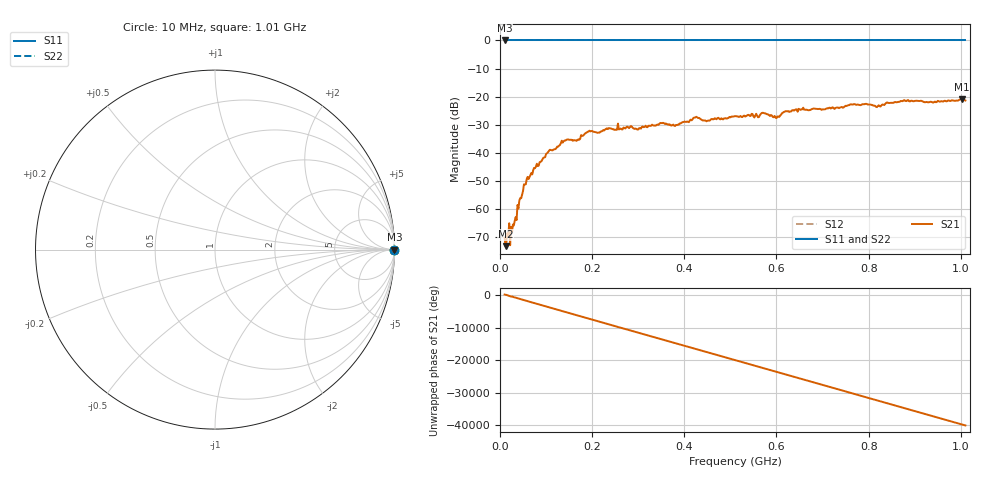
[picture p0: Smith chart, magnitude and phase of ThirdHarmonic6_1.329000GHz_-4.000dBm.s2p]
! 8/16/2025 2:50:07 PM
! C:\ANRITSUVNA\TEMP\TEMP.S2P
! CHANNEL.1
! TR.MEASUREMENT
! RAW.DATA
! RF.CORRECTION.OFF
! AVERAGING.OFF
! IF.BANDWIDTH: 5KHZ
! SWEEPTYPE:  FREQ.SWEEP(Linear)
! Reference Plane Port Info
! PORT:  PORT1  PORT2
! DISTANCE:  0  m  0  m
! TIME:  0  s  0  s
! PHASE.OFFSET:  0  deg.  0  deg.
! LOSS:  0  dB  0  dB
! REF.LOSS:  0  dB  0  dB
! REF.FREQ:  0  Hz  0  Hz
! Power Info
! POWER:  -20  dBm  -20  dBm
! EFF.POWER:  -20  dBm  -20  dBm
! SOURCE.ATTEN:  0  dB  0  dB
! TEST.ATTEN:  0  dB  0  dB
# GHZ S RI R 50.0
! FREQ.GHZ  S11RE  S11IM  S21RE  S21IM  S12RE  S12IM  S22RE  S22IM
!; PortSelection: Port_12
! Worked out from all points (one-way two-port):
!   501 points, 10 MHz to 1.01 GHz, reference 50 ohm
!   highest |S21| = -20.99 dB at 1.002 GHz (marker M1); lowest = -73.3 dB at 12 MHz (marker M2)
!   lowest |S11| = 0.0 dB at 10 MHz (marker M3)
!   |S11| at or under -10 dB: nowhere
!   |S22| runs from 0.0 to 0.0 dB; largest |S21 - S12| = 1.1
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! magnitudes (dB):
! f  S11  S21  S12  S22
! 10 MHz  0.0  -70.3  0.0  0.0
! 12 MHz  0.0  -73.3  0.0  0.0
! 26 MHz  0.0  -68.6  0.0  0.0
! 42 MHz  0.0  -57.0  0.0  0.0
! 56 MHz  0.0  -51.3  0.0  0.0
! 76 MHz  0.0  -45.5  0.0  0.0
! 104 MHz  0.0  -39.9  0.0  0.0
! 136 MHz  0.0  -36.4  0.0  0.0
! 178 MHz  0.0  -34.0  0.0  0.0
! 196 MHz  0.0  -32.4  0.0  0.0
! 344 MHz  0.0  -30.1  0.0  0.0
! 382 MHz  0.0  -30.1  0.0  0.0
! 424 MHz  0.0  -27.5  0.0  0.0
! 450 MHz  0.0  -28.7  0.0  0.0
! 510 MHz  0.0  -27.0  0.0  0.0
! 572 MHz  0.0  -25.8  0.0  0.0
! 602 MHz  0.0  -27.1  0.0  0.0
! 620 MHz  0.0  -25.2  0.0  0.0
! 678 MHz  0.0  -24.4  0.0  0.0
! 844 MHz  0.0  -22.3  0.0  0.0
! 1.002 GHz  0.0  -21.0  0.0  0.0
! 1.01 GHz  0.0  -21.4  0.0  0.0
